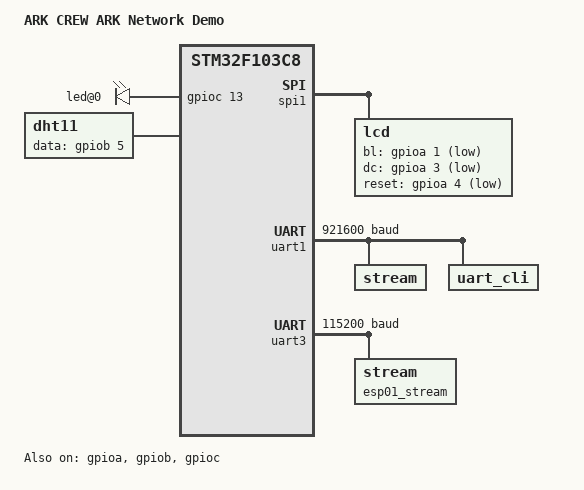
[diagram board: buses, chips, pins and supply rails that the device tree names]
/dts-v1/;

/ {
    model = "ARK CREW ARK Network Demo";
    compatible = "c8t6_ark_net", "stm32f103c8";

    sys {
        compatible = "simple-bus";
        #address-cells = <1>;
        #size-cells = <1>;
        ranges;

        gpioa: gpioa {
            compatible = "ark_hal_gpio";
            reg = <0x40010800 0x400>;
            gpio-controller;
            #gpio-cells = <2>;
            ark,logical-id = "gpioa";
            status = "okay";
        };

        gpiob: gpiob {
            compatible = "ark_hal_gpio";
            reg = <0x40010c00 0x400>;
            gpio-controller;
            #gpio-cells = <2>;
            ark,logical-id = "gpiob";
            status = "okay";
        };

        gpioc: gpioc {
            compatible = "ark_hal_gpio";
            reg = <0x40011000 0x400>;
            gpio-controller;
            #gpio-cells = <2>;
            ark,logical-id = "gpioc";
            status = "okay";
        };

        iwdg: iwdg {
            compatible = "ark_hal_watchdog";
            ark,logical-id = "watchdog1";
            ark,cubemx-handle = "hiwdg";
            ark,cubemx-header = "iwdg.h";
            status = "okay";
        };

        watchdog {
            compatible = "watchdog";
            status = "okay";
        };

        spi1: spi1 {
            compatible = "ark_hal_spi";
            reg = <0x40013000 0x400>;
            ark,logical-id = "spi1";
            ark,cubemx-handle = "hspi1";
            ark,cubemx-header = "spi.h";
            status = "okay";

            lcd {
                compatible = "lcd";
                bl-gpios = <&gpioa 1 1>;
                cs-gpios = <&gpioa 2 1>;
                dc-gpios = <&gpioa 3 1>;
                reset-gpios = <&gpioa 4 1>;
                status = "okay";
            };
        };

        uart1: uart1 {
            compatible = "ark_hal_uart";
            reg = <0x40013800 0x400>;
            ark,logical-id = "uart1";
            ark,cubemx-handle = "huart1";
            ark,cubemx-header = "usart.h";
            current-speed = <921600>;
            status = "okay";

            stream {
                compatible = "stream";
                ark,stream-name = "cli";
                current-speed = <921600>;
                status = "okay";
            };

            uart_cli {
                compatible = "uart_cli";
                ark,stream-name = "cli";
                ark,welcome = "ARK CREW ARK NET ready";
                status = "okay";
            };
        };

        uart3: uart3 {
            compatible = "ark_hal_uart";
            reg = <0x40004800 0x400>;
            ark,logical-id = "uart3";
            ark,cubemx-handle = "huart3";
            ark,cubemx-header = "usart.h";
            current-speed = <115200>;
            status = "okay";

            esp01_stream: stream {
                compatible = "stream";
                ark,stream-name = "esp01";
                ark,rx-mode = "interrupt";
                status = "okay";

                wifi {
                    compatible = "wifi";
                    status = "okay";

                    wifi_esp_at {
                        compatible = "wifi_esp_at";
                        ark,stream-name = "esp01";
                        current-speed = <115200>;
                        ark,ssid = "YOUR_WIFI_SSID";
                        ark,password = "CHANGE_ME_WIFI_PASSWORD";
                        ark,udp-enabled;
                        status = "okay";
                    };
                };
            };
        };

        leds {
            compatible = "led";
            status = "okay";

            led@0 {
                reg = <0>;
                gpios = <&gpioc 13 0>;
                status = "okay";
            };
        };

        dht11 {
            compatible = "dht11";
            /* PB5 is a single-wire, open-drain DHT11 data line. */
            data-gpios = <&gpiob 5 0>;
            status = "okay";
        };

        json {
            compatible = "json";
            status = "okay";
        };

        ark_net {
            compatible = "ark_net";
            ark,host = "154.202.119.145";
            /* The HTTP dashboard uses 8080; the device uses its TCP gateway. */
            ark,port = <9000>;
            ark,device-id = "c8t6-ark-net-01";
            /* Device registration password; never expose it in the web UI. */
            ark,device-password = "CHANGE_ME_DEVICE_PASSWORD";
            ark,upload-period-ms = <5000>;
            ark,poll-period-ms = <2000>;
            ark,request-timeout-ms = <8000>;
            status = "okay";
        };
    };

    software {
        display {
            ark,refresh-period-ms = <500>;
            status = "okay";
        };
    };
};
